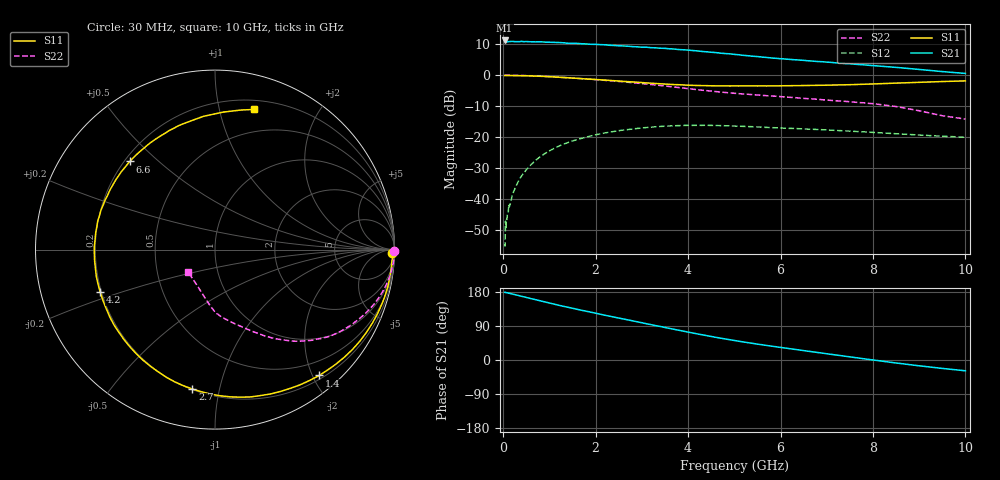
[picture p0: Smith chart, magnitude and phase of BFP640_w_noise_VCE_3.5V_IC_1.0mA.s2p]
! Infineon Technologies  Discrete & RF Semiconductors
! BFP640
! VCE =  3.5 V,  IC =  1.0 mA
! Common Emitter S-Parameters:  Apr 2013
# GHz  S  MA  R  50
!  f  S11  S21  S12  S22
! GHz  MAG  ANG  MAG  ANG  MAG  ANG  MAG  ANG
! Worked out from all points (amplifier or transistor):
!   99 points, 30 MHz to 10 GHz, reference 50 ohm
!   highest |S21| = 11.3 dB at 30 MHz (marker M1)
!   |S21| within 3 dB of that: start of sweep to 3.865 GHz
!   unconditionally stable (mu >= 1): 6.983 GHz to end of sweep
!   at 350 MHz: K = 0.01, MSG = 22.3 dB, |S12| = -33.7 dB
!   at 3.5 GHz: K = 0.44, MSG = 12.6 dB, |S12| = -16.5 dB
!   at 10 GHz: K = 1.45, MAG = 6.3 dB, |S12| = -20.1 dB
!   lowest NFmin = 0.65 dB at 450 MHz
!   S11 on the Smith chart (normalised r, x): 30 MHz: 47, -75; 1.4 GHz: 0.26, -2.10; 2.7 GHz: 0.20, -0.83; 4.2 GHz: 0.19, -0.17; 6.6 GHz: 0.22, +0.41; 10 GHz: 0.28, +1.27
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0.03  0.9881 -1.1  3.66 178.7  0.0018 88.9  0.9987 -0.6
0.04  0.9887 -1.4  3.458 178.4  0.0017 96.1  0.9991 -0.7
0.05  0.9917 -1.6  3.453 178.5  0.0043 86.2  0.9994 -0.8
0.06  0.9904 -2.1  3.465 177.9  0.0034 76.1  0.9991 -1.0
0.07  0.9895 -2.5  3.457 177.7  0.0046 79.2  0.9989 -1.3
0.11  0.9875 -3.9  3.495 176.6  0.0061 84.2  0.9991 -1.9
0.12  0.9873 -4.3  3.506 176.3  0.008 89.8  0.9982 -2.1
0.14  0.9877 -5.0  3.518 175.8  0.0076 87.2  0.9978 -2.5
0.35  0.9844 -12.4  3.497 169.6  0.0206 83.4  0.9919 -6.1
0.8  0.9615 -28.7  3.484 156.2  0.0479 73.0  0.9648 -13.7
1.2  0.9283 -43.3  3.389 144.5  0.0708 63.1  0.9298 -20.0
1.4  0.9102 -50.4  3.296 139.2  0.081 58.1  0.9105 -23.0
1.7  0.8799 -61.4  3.235 131.1  0.0951 51.2  0.8797 -27.1
2.2  0.8341 -80.3  3.113 118.1  0.116 40.0  0.8264 -34.1
2.7  0.7873 -99.2  2.947 105.8  0.1319 29.5  0.7687 -40.2
3.4  0.7272 -127.2  2.74 88.4  0.1479 16.0  0.6818 -48.5
4.2  0.6821 -159.8  2.475 68.9  0.1544 1.4  0.5842 -57.3
5.1  0.6706 169.0  2.146 49.5  0.1494 -12.0  0.5035 -65.1
6.6  0.6829 134.0  1.712 23.1  0.1339 -26.3  0.4169 -76.8
6.7  0.6847 131.9  1.694 21.5  0.133 -27.1  0.4121 -77.7
8.5  0.7453 95.0  1.341 -7.9  0.1128 -37.1  0.3109 -95.4
10  0.8099 74.6  1.07 -28.5  0.0992 -37.9  0.195 -139.8
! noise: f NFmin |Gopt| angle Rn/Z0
0.45  0.65  0.65  13  0.46
0.9  0.72  0.66  25  0.45
1.5  0.9  0.57  42  0.42
1.9  0.97  0.53  56  0.41
2.4  1.04  0.5  66  0.39
3.5  1.24  0.43  95  0.34
5.5  1.75  0.38  -177  0.34
10  3.04  0.68  -70  1.23
